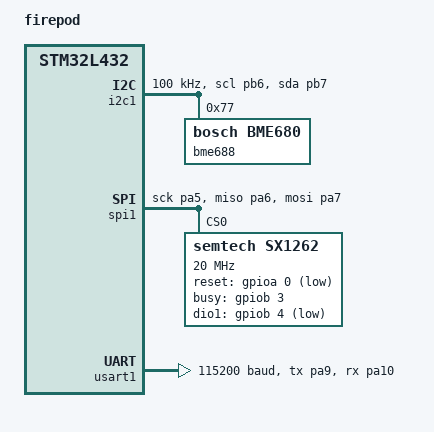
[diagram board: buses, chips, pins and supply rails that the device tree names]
/dts-v1/;

#include <st/l4/stm32l432.dtsi>
#include <st/l4/stm32l432k(b-c)ux-pinctrl.dtsi>

// TODO: Look into why I don't need this for STM32
// #include "firepod_pinctrl.dtsi"

/ {
    model = "firepod";
    compatible = "custom,firepod";

    aliases {
        i2c-1 = &i2c1;
        spi-1 = &spi1;
        uart-1 = &usart1;
    };

    // this determines which hardware instances you want to use for core system level functions
    chosen {
        zephyr,console = &usart1;
        zephyr,shell-uart = &usart1;
        zephyr,flash = &flash0;
        zephyr,sram = &sram0;
    };

};

&sram0 {
    reg = <0x20000000 0x10000>;  // 64KB = 0x10000
};

&flash0 {
    reg = <0x08000000 0x20000>;  // 128KB = 0x20000
};

&rcc {
    clocks = <&pll>;
    // TODO: CHECK THIS
    clock-frequency = <80000000>;
    ahb-prescaler = <1>;
    apb1-prescaler = <1>;
    apb2-prescaler = <1>;
};

&i2c1 {
    status = "okay";
    pinctrl-0 = <&i2c1_scl_pb6 &i2c1_sda_pb7>;
    pinctrl-names = "default";
    clock-frequency = <100000>;

    bme688: bme688@77 {
        compatible = "bosch,bme680";
        reg = <0x77>;
    };
};

&quadspi {
    status = "disabled";
};

// TODO: ADD CS PIN
&spi1 {
    status = "okay";
    pinctrl-0 = <&spi1_sck_pa5 &spi1_miso_pa6 &spi1_mosi_pa7>;
    pinctrl-names = "default";
    // on the datasheet this says 20 Mbit/s
    // spi-max-frequency = <0x1312D00>;

    // address DOES NOT need to be set here in our case, the lora drivers handle all the SPI transactions under the hood
    sx1262: sx1262@0 {
        status = "okay";
        spi-max-frequency = <20000000>;
        compatible = "semtech,sx1262";
        // this will be PA2 (2) for our custom PCB
        reset-gpios = <&gpioa 0 GPIO_ACTIVE_LOW>;
        // this will be PA1 (1) for our custom PCB
        busy-gpios = <&gpiob 3 GPIO_ACTIVE_HIGH>;
        // this will be PA3 (3) for our custom PCB
        dio1-gpios = <&gpiob 4 GPIO_ACTIVE_LOW>;
        reg = <0x0>;
    };
};

&usart1 {
    status = "okay";
    pinctrl-0 = <&usart1_tx_pa9 &usart1_rx_pa10>;
    pinctrl-names = "default";
    current-speed = <115200>;
};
